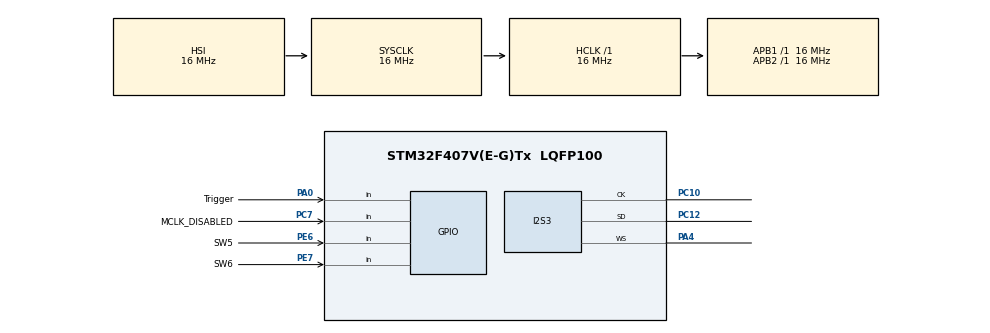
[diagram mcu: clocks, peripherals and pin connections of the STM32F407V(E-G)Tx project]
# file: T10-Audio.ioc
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Dma.Request0=SPI3_TX
Dma.SPI3_TX.0.Direction=DMA_MEMORY_TO_PERIPH
Dma.SPI3_TX.0.FIFOMode=DMA_FIFOMODE_DISABLE
Dma.SPI3_TX.0.Instance=DMA1_Stream5
Dma.SPI3_TX.0.MemDataAlignment=DMA_MDATAALIGN_HALFWORD
Dma.SPI3_TX.0.MemInc=DMA_MINC_ENABLE
Dma.SPI3_TX.0.Mode=DMA_NORMAL
Dma.SPI3_TX.0.PeriphDataAlignment=DMA_PDATAALIGN_HALFWORD
Dma.SPI3_TX.0.PeriphInc=DMA_PINC_DISABLE
Dma.SPI3_TX.0.Priority=DMA_PRIORITY_LOW
FREERTOS.Queues01=audioQueue,16,uint16_t,0,Dynamic,NULL,NULL
FREERTOS.Tasks01=buttonTask,0,128,ButtonTask,Default,NULL,Dynamic,NULL,NULL;audioTask,-3,128,AudioTask,Default,NULL,Dynamic,NULL,NULL
FREERTOS.configUSE_NEWLIB_REENTRANT=1
I2S3.AudioFreq=I2S_AUDIOFREQ_44K
I2S3.DataFormat=I2S_DATAFORMAT_16B_EXTENDED
I2S3.ErrorAudioFreq=0.26 %
I2S3.FullDuplexMode=I2S_FULLDUPLEXMODE_DISABLE
I2S3.Instance=SPI$Index
I2S3.RealAudioFreq=44.117 KHz
I2S3.Standard=I2S_STANDARD_PHILIPS
I2S3.VirtualMode=I2S_MODE_MASTER
Mcu.Family=STM32F4
Mcu.Name=STM32F407V(E-G)Tx
Mcu.Package=LQFP100
NVIC.DMA1_Stream5_IRQn=true\:5\:0\:false\:false\:true\:true\:false\:true\:true
NVIC.PriorityGroup=NVIC_PRIORITYGROUP_4
PA0-WKUP.GPIO_Label=Trigger
PA0-WKUP.Signal=GPIO_Input
PA4.Mode=Half_Duplex_Master
PA4.Signal=I2S3_WS
PC10.Mode=Half_Duplex_Master
PC10.Signal=I2S3_CK
PC12.Mode=Half_Duplex_Master
PC12.Signal=I2S3_SD
PC7.GPIO_Label=MCLK_DISABLED
PC7.Signal=GPIO_Input
PE6.GPIO_Label=SW5
PE6.Signal=GPIO_Input
PE7.GPIO_Label=SW6
PE7.Signal=GPIO_Input
ProjectManager.HeapSize=0x200
ProjectManager.StackSize=0x400
ProjectManager.TargetToolchain=STM32CubeIDE
RCC.48MHZClocksFreq_Value=48000000
RCC.AHBFreq_Value=16000000
RCC.APB1Freq_Value=16000000
RCC.APB2Freq_Value=16000000
RCC.CortexFreq_Value=16000000
RCC.HSE_VALUE=25000000
RCC.HSI_VALUE=16000000
RCC.LSE_VALUE=32768
RCC.SYSCLKFreq_VALUE=16000000
RCC.VCOOutputFreq_Value=192000000
VP_FREERTOS_VS_CMSIS_V1.Mode=CMSIS_V1
board=custom

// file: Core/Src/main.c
/* USER CODE BEGIN Header */
/**
  ******************************************************************************
  * @file           : main.c
  * @brief          : Main program body
  ******************************************************************************
  * @attention
  *
  * Copyright (c) 2024 STMicroelectronics.
  * All rights reserved.
  *
  * This software is licensed under terms that can be found in the LICENSE file
  * in the root directory of this software component.
  * If no LICENSE file comes with this software, it is provided AS-IS.
  *
  ******************************************************************************
  */
/* USER CODE END Header */
#include "main.h"
#include "cmsis_os.h"

/* USER CODE BEGIN Includes */

#include "AudioClips/WarningContemporary.h"
#include "AudioClips/PwrOnConcise.h"
#include "AudioClips/NotificationSharp.h"
#include "AudioClips/AlarmNerdy.h"
#include <stdio.h>
#include <math.h>
/* USER CODE END Includes */

/* USER CODE BEGIN PTD */
typedef enum {
  WARNING,
  ALARM,
  POWER_ON,
  NOTIFICATION,
} audio_clips_t;

/* USER CODE END PTD */

/* USER CODE BEGIN PM */
#define MIN(X, Y) (((X) < (Y)) ? (X) : (Y))
#define MAX_DMA_VAL (uint32_t)(pow(2,16)-1)
/* USER CODE END PM */

I2S_HandleTypeDef hi2s3;
DMA_HandleTypeDef hdma_spi3_tx;

osThreadId buttonTaskHandle;
osThreadId audioTaskHandle;
osMessageQId audioQueueHandle;

void SystemClock_Config(void);
static void MX_GPIO_Init(void);
static void MX_DMA_Init(void);
static void MX_I2S3_Init(void);
void ButtonTask(void const * argument);
void AudioTask(void const * argument);

/* USER CODE BEGIN PFP */
static  uint32_t _ReadPins();
static  void     _Play(uint16_t* pBuf, uint32_t len);
static  void     _PlayClip(audio_clips_t clip);
/* USER CODE END PFP */

/* USER CODE BEGIN 0 */
static uint32_t _ReadPins() {
  uint32_t  res =   0;
  res       =   HAL_GPIO_ReadPin(GPIOE, SW5_Pin)  <<  2;
  res       |=  HAL_GPIO_ReadPin(GPIOE, SW6_Pin)  <<  1;
  res       |=  HAL_GPIO_ReadPin(GPIOA, Trigger_Pin);
  return  res;
}
static void _Play(uint16_t* pBuf, uint32_t len) {
  uint8_t   k = 0;
  uint8_t   i = len/MAX_DMA_VAL;
  //
  // assume audio clip is larger than max size (2^16)
  //
  do {
    //
    // Advance to start of next chunk
    //
    uint16_t* pData = &pBuf[k * MAX_DMA_VAL];
    //
    // Get the length of current chunk
    //
    uint32_t l        = len - MAX_DMA_VAL * k;
    uint32_t clipSize = MIN(l, MAX_DMA_VAL);
    //
    // make sure we are ready before transmitting
    //
    while (HAL_I2S_GetState(&hi2s3) != HAL_I2S_STATE_READY);
    HAL_I2S_Transmit_DMA(&hi2s3, (uint16_t*)pData, clipSize);
    k++;
  } while (i-->0);

}
static void _PlayClip(audio_clips_t clip) {
    switch (clip) {
        case WARNING:
          _Play((uint16_t*)&WarningContemporary[0], sizeWarningContemporary);
          break;
        case ALARM:
          _Play((uint16_t*)&AlarmNerdy[0], sizeAlarmNerdy);
          break;
        case POWER_ON:
          _Play((uint16_t*)&PwrOnConcise[0], sizePwrOnConcise);
          break;
        case NOTIFICATION:
          _Play((uint16_t*)&NotificationSharp[0], sizeNotificationSharp);
          break;
    default:
      break;
    }
}

/* USER CODE END 0 */

int main(void)
{

  /* MCU Configuration--------------------------------------------------------*/

  /* Reset of all peripherals, Initializes the Flash interface and the Systick. */
  HAL_Init();

  /* Configure the system clock */
  SystemClock_Config();

  /* Initialize all configured peripherals */
  MX_GPIO_Init();
  MX_DMA_Init();
  MX_I2S3_Init();

  /* Create the queue(s) */
  /* definition and creation of audioQueue */
  osMessageQDef(audioQueue, 16, uint16_t);
  audioQueueHandle = osMessageCreate(osMessageQ(audioQueue), NULL);

  /* Create the thread(s) */
  /* definition and creation of buttonTask */
  osThreadDef(buttonTask, ButtonTask, osPriorityNormal, 0, 128);
  buttonTaskHandle = osThreadCreate(osThread(buttonTask), NULL);

  /* definition and creation of audioTask */
  osThreadDef(audioTask, AudioTask, osPriorityIdle, 0, 128);
  audioTaskHandle = osThreadCreate(osThread(audioTask), NULL);

  /* Start scheduler */
  osKernelStart();

  /* We should never get here as control is now taken by the scheduler */

  /* Infinite loop */
  while (1)
  {

  }
}

void SystemClock_Config(void)
{
  RCC_OscInitTypeDef RCC_OscInitStruct = {0};
  RCC_ClkInitTypeDef RCC_ClkInitStruct = {0};

  /** Macro to configure the PLL multiplication factor
  */
  __HAL_RCC_PLL_PLLM_CONFIG(16);

  /** Macro to configure the PLL clock source
  */
  __HAL_RCC_PLL_PLLSOURCE_CONFIG(RCC_PLLSOURCE_HSI);

  /** Configure the main internal regulator output voltage
  */
  __HAL_RCC_PWR_CLK_ENABLE();
  __HAL_PWR_VOLTAGESCALING_CONFIG(PWR_REGULATOR_VOLTAGE_SCALE1);

  /** Initializes the RCC Oscillators according to the specified parameters
  * in the RCC_OscInitTypeDef structure.
  */
  RCC_OscInitStruct.OscillatorType = RCC_OSCILLATORTYPE_HSI;
  RCC_OscInitStruct.HSIState = RCC_HSI_ON;
  RCC_OscInitStruct.HSICalibrationValue = RCC_HSICALIBRATION_DEFAULT;
  RCC_OscInitStruct.PLL.PLLState = RCC_PLL_NONE;
  RCC_OscInitStruct.PLL.PLLSource = RCC_PLLSOURCE_HSI;
  if (HAL_RCC_OscConfig(&RCC_OscInitStruct) != HAL_OK)
  {
    Error_Handler();
  }

  /** Initializes the CPU, AHB and APB buses clocks
  */
  RCC_ClkInitStruct.ClockType = RCC_CLOCKTYPE_HCLK|RCC_CLOCKTYPE_SYSCLK
                              |RCC_CLOCKTYPE_PCLK1|RCC_CLOCKTYPE_PCLK2;
  RCC_ClkInitStruct.SYSCLKSource = RCC_SYSCLKSOURCE_HSI;
  RCC_ClkInitStruct.AHBCLKDivider = RCC_SYSCLK_DIV1;
  RCC_ClkInitStruct.APB1CLKDivider = RCC_HCLK_DIV1;
  RCC_ClkInitStruct.APB2CLKDivider = RCC_HCLK_DIV1;

  if (HAL_RCC_ClockConfig(&RCC_ClkInitStruct, FLASH_LATENCY_0) != HAL_OK)
  {
    Error_Handler();
  }
}

static void MX_I2S3_Init(void)
{

  hi2s3.Instance = SPI3;
  hi2s3.Init.Mode = I2S_MODE_MASTER_TX;
  hi2s3.Init.Standard = I2S_STANDARD_PHILIPS;
  hi2s3.Init.DataFormat = I2S_DATAFORMAT_16B_EXTENDED;
  hi2s3.Init.MCLKOutput = I2S_MCLKOUTPUT_DISABLE;
  hi2s3.Init.AudioFreq = I2S_AUDIOFREQ_44K;
  hi2s3.Init.CPOL = I2S_CPOL_LOW;
  hi2s3.Init.ClockSource = I2S_CLOCK_PLL;
  hi2s3.Init.FullDuplexMode = I2S_FULLDUPLEXMODE_DISABLE;
  if (HAL_I2S_Init(&hi2s3) != HAL_OK)
  {
    Error_Handler();
  }

}

static void MX_DMA_Init(void)
{

  /* DMA controller clock enable */
  __HAL_RCC_DMA1_CLK_ENABLE();

  /* DMA interrupt init */
  /* DMA1_Stream5_IRQn interrupt configuration */
  HAL_NVIC_SetPriority(DMA1_Stream5_IRQn, 5, 0);
  HAL_NVIC_EnableIRQ(DMA1_Stream5_IRQn);

}

static void MX_GPIO_Init(void)
{
  GPIO_InitTypeDef GPIO_InitStruct = {0};

  /* GPIO Ports Clock Enable */
  __HAL_RCC_GPIOE_CLK_ENABLE();
  __HAL_RCC_GPIOA_CLK_ENABLE();
  __HAL_RCC_GPIOC_CLK_ENABLE();

  /*Configure GPIO pins : SW5_Pin SW6_Pin */
  GPIO_InitStruct.Pin = SW5_Pin|SW6_Pin;
  GPIO_InitStruct.Mode = GPIO_MODE_INPUT;
  GPIO_InitStruct.Pull = GPIO_NOPULL;
  HAL_GPIO_Init(GPIOE, &GPIO_InitStruct);

  /*Configure GPIO pin : Trigger_Pin */
  GPIO_InitStruct.Pin = Trigger_Pin;
  GPIO_InitStruct.Mode = GPIO_MODE_INPUT;
  GPIO_InitStruct.Pull = GPIO_NOPULL;
  HAL_GPIO_Init(Trigger_GPIO_Port, &GPIO_InitStruct);

  /*Configure GPIO pin : MCLK_DISABLED_Pin */
  GPIO_InitStruct.Pin = MCLK_DISABLED_Pin;
  GPIO_InitStruct.Mode = GPIO_MODE_INPUT;
  GPIO_InitStruct.Pull = GPIO_NOPULL;
  HAL_GPIO_Init(MCLK_DISABLED_GPIO_Port, &GPIO_InitStruct);

}

void ButtonTask(void const * argument)
{
  /* USER CODE BEGIN 5 */
  /* Infinite loop */
  uint32_t	curPinVal	=	 0;
  uint32_t 	oldVal 		=  -1;
  for(;;) {
	curPinVal	=	_ReadPins();
	//
	// button release is required in between every playback iteration
	//
	if (curPinVal != oldVal) {
		oldVal	=	curPinVal;
		//
		// Only attempt to play clip if there isn't one already playing
		//
		if (HAL_I2S_GetState(&hi2s3) == HAL_I2S_STATE_READY) {
			switch (curPinVal) {
  				case 3:
  					osMessagePut (audioQueueHandle, WARNING, 100);
  					break;
  				case 5:
  					osMessagePut (audioQueueHandle, NOTIFICATION, 100);
  					break;
  				case 6:
  					osMessagePut (audioQueueHandle, ALARM, 100);
  					break;
  				default:
  					break;
			}
		}
	}
  osDelay(50);
  }
  /* USER CODE END 5 */
}

void AudioTask(void const * argument)
{
  /* USER CODE BEGIN AudioTask */
  /* Infinite loop */
  osEvent event;
  audio_clips_t clip = 0;
  _PlayClip(POWER_ON);
  for(;;)
  {
	  event = osMessageGet(audioQueueHandle, osWaitForever);
	  if (event.status == osEventMessage) {
		  event.def.message_id  = audioQueueHandle;
		  clip 					        = (audio_clips_t)event.value.v;
      _PlayClip(clip);
	  }
	  osDelay(100);
  }
  /* USER CODE END AudioTask */
}

void Error_Handler(void)
{
  __disable_irq();
  while (1)
  {
  }
}
